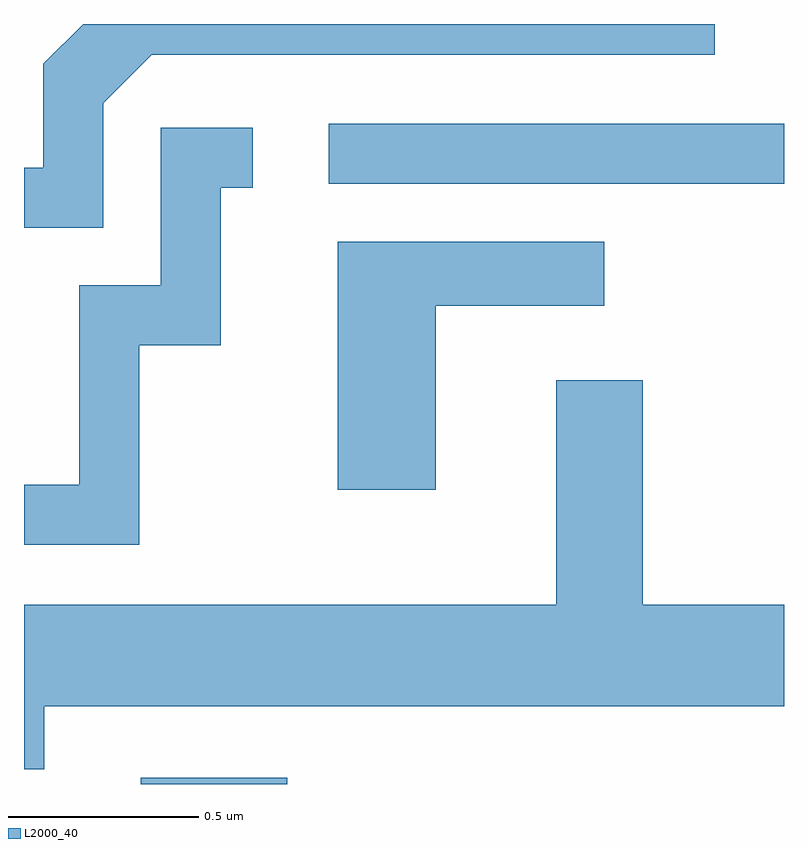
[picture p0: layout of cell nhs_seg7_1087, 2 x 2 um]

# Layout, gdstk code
import gdstk
lib = gdstk.Library(unit=1e-6, precision=1e-09)
def R(c, l, rs):  # rectangles x0, y0, x1, y1
    for r in rs: c.add(gdstk.rectangle(r[:2], r[2:], *l))
def P(c, l, *ps):  # polygons
    for p in ps: c.add(gdstk.Polygon(p, *l))
L2000_40 = (2000, 40)

nhs_seg7_1087 = lib.new_cell('nhs_seg7_1087')
R(nhs_seg7_1087, L2000_40, [(192.918,1796.252,193.304,1796.269), (193.413,1797.831,194.611,1797.989)])
P(nhs_seg7_1087, L2000_40, [(192.819,1798.044),(192.947,1798.171),(194.429,1798.171),(194.429,1798.252),(192.767,1798.252),(192.661,1798.147),(192.661,1797.874),(192.611,1797.874),(192.611,1797.716),(192.819,1797.716)],
  [(192.914,1797.406),(193.129,1797.406),(193.129,1797.821),(193.213,1797.821),(193.213,1797.979),(192.971,1797.979),(192.971,1797.564),(192.756,1797.564),(192.756,1797.039),(192.611,1797.039),(192.611,1796.881),(192.914,1796.881)],
  [(193.694,1797.511),(194.138,1797.511),(194.138,1797.679),(193.436,1797.679),(193.436,1797.026),(193.694,1797.026)],
  [(192.664,1796.456),(194.611,1796.456),(194.611,1796.724),(194.239,1796.724),(194.239,1797.314),(194.011,1797.314),(194.011,1796.724),(192.611,1796.724),(192.611,1796.291),(192.664,1796.291)])

lib.write_gds('nhs_seg7_1087.gds')
